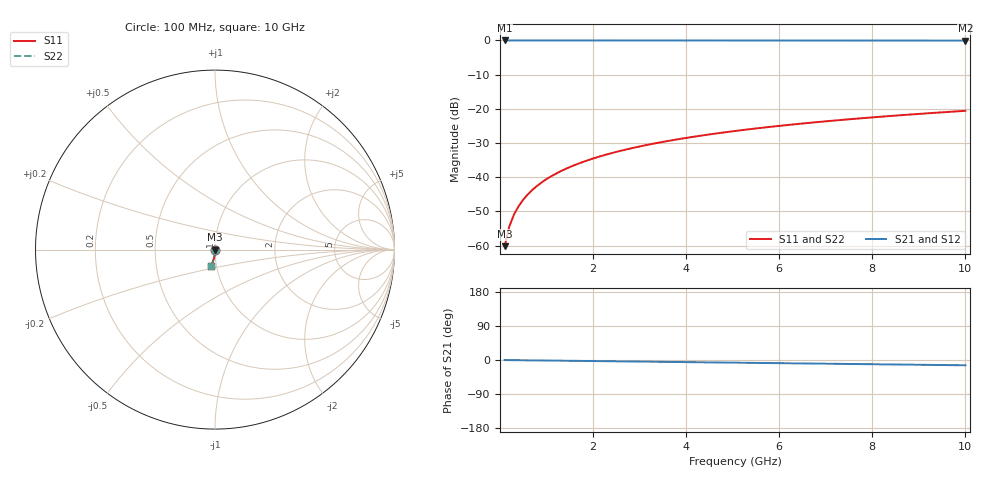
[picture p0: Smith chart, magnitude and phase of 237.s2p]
# Hz S RI R 50.00
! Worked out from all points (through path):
!   100 points, 100 MHz to 10 GHz, reference 50 ohm
!   highest |S21| = 0.00 dB at 100 MHz (marker M1); lowest = 0.0 dB at 10 GHz (marker M2)
!   group delay of S21, straight-line fit = 3.88 ps
!   lowest |S11| = -60.2 dB at 100 MHz (marker M3), VSWR 1.00, Z = 50 - j0.0936 ohm
!   |S11| at or under -10 dB: start of sweep to end of sweep
!   |S22| runs from -60.2 to -20.6 dB; largest |S21 - S12| = 0
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1e8  0.000285 -0.000936  0.9997 -0.00242  0.9997 -0.00242  0.000285 -0.000936
2e8  0.000278 -0.00187  0.9997 -0.00484  0.9997 -0.00484  0.000278 -0.00187
3e8  0.000267 -0.00281  0.9997 -0.00726  0.9997 -0.00726  0.000267 -0.00281
4e8  0.000251 -0.00374  0.9996 -0.00968  0.9996 -0.00968  0.000251 -0.00374
5e8  0.00023 -0.00468  0.9996 -0.0121  0.9996 -0.0121  0.00023 -0.00468
6e8  0.000204 -0.00562  0.9996 -0.0145  0.9996 -0.0145  0.000204 -0.00562
7e8  0.000174 -0.00655  0.9995 -0.0169  0.9995 -0.0169  0.000174 -0.00655
8e8  0.000139 -0.00749  0.9995 -0.0194  0.9995 -0.0194  0.000139 -0.00749
9e8  9.96e-05 -0.00842  0.9994 -0.0218  0.9994 -0.0218  9.96e-05 -0.00842
1.1e9  7.03e-06 -0.0103  0.9993 -0.0266  0.9993 -0.0266  7.03e-06 -0.0103
1.4e9  -0.000166 -0.0131  0.999 -0.0339  0.999 -0.0339  -0.000166 -0.0131
1.8e9  -0.000461 -0.0168  0.9986 -0.0436  0.9986 -0.0436  -0.000461 -0.0168
2.1e9  -0.00073 -0.0196  0.9982 -0.0508  0.9982 -0.0508  -0.00073 -0.0196
2.5e9  -0.00115 -0.0234  0.9975 -0.0605  0.9975 -0.0605  -0.00115 -0.0234
2.9e9  -0.00165 -0.0271  0.9968 -0.0702  0.9968 -0.0702  -0.00165 -0.0271
3.4e9  -0.00237 -0.0318  0.9957 -0.0823  0.9957 -0.0823  -0.00237 -0.0318
4.2e9  -0.00376 -0.0392  0.9937 -0.1016  0.9937 -0.1016  -0.00376 -0.0392
5.1e9  -0.00567 -0.0475  0.9908 -0.1233  0.9908 -0.1233  -0.00567 -0.0475
5.9e9  -0.00768 -0.0548  0.9878 -0.1426  0.9878 -0.1426  -0.00768 -0.0548
6.7e9  -0.00997 -0.062  0.9844 -0.1618  0.9844 -0.1618  -0.00997 -0.062
8.4e9  -0.0158 -0.077  0.9757 -0.2024  0.9757 -0.2024  -0.0158 -0.077
1e10  -0.0224 -0.0907  0.9657 -0.2402  0.9657 -0.2402  -0.0224 -0.0907
